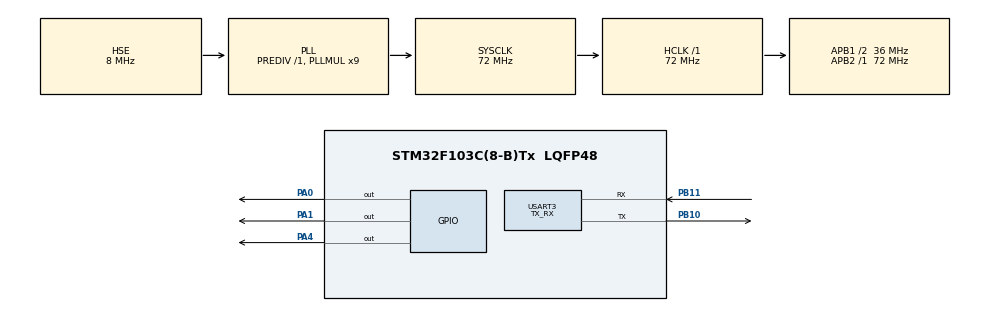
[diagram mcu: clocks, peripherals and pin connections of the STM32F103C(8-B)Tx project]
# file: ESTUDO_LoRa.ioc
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Dma.Request0=USART3_RX
Dma.USART3_RX.0.Direction=DMA_PERIPH_TO_MEMORY
Dma.USART3_RX.0.Instance=DMA1_Channel3
Dma.USART3_RX.0.MemDataAlignment=DMA_MDATAALIGN_BYTE
Dma.USART3_RX.0.MemInc=DMA_MINC_ENABLE
Dma.USART3_RX.0.Mode=DMA_CIRCULAR
Dma.USART3_RX.0.PeriphDataAlignment=DMA_PDATAALIGN_BYTE
Dma.USART3_RX.0.PeriphInc=DMA_PINC_DISABLE
Dma.USART3_RX.0.Priority=DMA_PRIORITY_LOW
Mcu.Family=STM32F1
Mcu.Name=STM32F103C(8-B)Tx
Mcu.Package=LQFP48
NVIC.DMA1_Channel3_IRQn=true\:0\:0\:false\:false\:true\:false\:true\:true
NVIC.PriorityGroup=NVIC_PRIORITYGROUP_4
PA0-WKUP.Signal=GPIO_Output
PA1.Signal=GPIO_Output
PA13.Mode=Serial_Wire
PA13.Signal=SYS_JTMS-SWDIO
PA14.Mode=Serial_Wire
PA14.Signal=SYS_JTCK-SWCLK
PA4.Signal=GPIO_Output
PB10.Mode=Asynchronous
PB10.Signal=USART3_TX
PB11.Mode=Asynchronous
PB11.Signal=USART3_RX
PD0-OSC_IN.Mode=HSE-External-Oscillator
PD0-OSC_IN.Signal=RCC_OSC_IN
PD1-OSC_OUT.Mode=HSE-External-Oscillator
PD1-OSC_OUT.Signal=RCC_OSC_OUT
ProjectManager.HeapSize=0x200
ProjectManager.StackSize=0x400
ProjectManager.TargetToolchain=STM32CubeIDE
RCC.AHBFreq_Value=72000000
RCC.APB1CLKDivider=RCC_HCLK_DIV2
RCC.APB1Freq_Value=36000000
RCC.APB1TimFreq_Value=72000000
RCC.APB2Freq_Value=72000000
RCC.APB2TimFreq_Value=72000000
RCC.HCLKFreq_Value=72000000
RCC.PLLMUL=RCC_PLL_MUL9
RCC.PLLSourceVirtual=RCC_PLLSOURCE_HSE
RCC.SYSCLKFreq_VALUE=72000000
RCC.SYSCLKSource=RCC_SYSCLKSOURCE_PLLCLK
RCC.USBFreq_Value=72000000
USART3.Mode=MODE_TX_RX
USART3.Parity=PARITY_NONE
USART3.VirtualMode=VM_ASYNC
board=custom

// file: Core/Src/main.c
/* USER CODE BEGIN Header */
/**
 ******************************************************************************
 * @file           : main.c
 * @brief          : Main program body
 ******************************************************************************
 * @attention
 *
 * Copyright (c) 2023 STMicroelectronics.
 * All rights reserved.
 *
 * This software is licensed under terms that can be found in the LICENSE file
 * in the root directory of this software component.
 * If no LICENSE file comes with this software, it is provided AS-IS.
 *
 ******************************************************************************
 */
/* USER CODE END Header */
#include "main.h"

/* USER CODE BEGIN Includes */
#include "DMA_USART.h"
#include "LoRa_SX1276.h"
#include <stdio.h>
/* USER CODE END Includes */

UART_HandleTypeDef huart3;
DMA_HandleTypeDef hdma_usart3_rx;

/* USER CODE BEGIN PV */
uint8_t Send_STATUS = 1;
LoRa_Float FLOAT = 12.5;
char AT_comand[15] = "";
extern uint8_t DMA_RX_Buffer_3[DMA_RX_BUFFER_SIZE];
uint64_t id = 0x018fdea1;
LoRa_Value Value = 3;
//LoRa_AutoNetworkJoinTypeDef status = LORA_AUTO_NETWORK_JOIN_ON;
LoRa_AutoNetworkJoinTypeDef read_status = LORA_AUTO_NETWORK_JOIN_OFF;
LoRa_Adress adress = 0xd3ad12;
LoRa_LoraMacRegionTypeDef regiao = LORAMAC_REGION_US915;
LoRa_TimeTypeDef horario;
LoRa_DateTypeDef data;
LoRa_ChannelsTypeDef chanel;
LoRa_PinTypeDef pino;
/* USER CODE END PV */

void SystemClock_Config(void);
static void MX_GPIO_Init(void);
static void MX_DMA_Init(void);
static void MX_USART3_UART_Init(void);

/* USER CODE BEGIN 0 */
void USART3_Message_Received() {
}
/* USER CODE END 0 */

int main(void) {

	/* MCU Configuration--------------------------------------------------------*/

	/* Reset of all peripherals, Initializes the Flash interface and the Systick. */
	HAL_Init();

	/* Configure the system clock */
	SystemClock_Config();

	/* Initialize all configured peripherals */
	MX_GPIO_Init();
	MX_DMA_Init();
	MX_USART3_UART_Init();
	/* USER CODE BEGIN 2 */
	USART_Init();
//	pino.LoRa_PinChar = 'C';
//	pino.LoRa_PinNumber = 6;
	/* USER CODE END 2 */
	/* Infinite loop */
	/* USER CODE BEGIN WHILE */
//	AT_StopRFTest();
//	AT_LoRaTxSignalStrengthTest(922500000, 12, 5, 1, 3, 2);
//	AT_RegionalChannelListP2P(AT_OPERATION_WRITE, 1, &list);
//	AT_LoRaMacRegion(AT_OPERATION_READ, &regiao);
//	AT_LoRaMacRegion(AT_OPERATION_WRITE, &regiao);
//
//	AT_RegionalChannelListP2P(AT_OPERATION_READ, 0, &chanel);
//	AT_SystemReboot(AT_REBOOT_SYSTEM);
	AT_SyncWordP2P(AT_OPERATION_READ, &Value);
	Value = 23;
	AT_SyncWordP2P(AT_OPERATION_WRITE, &Value);
	Value = 52;
	AT_SyncWordP2P(AT_OPERATION_READ, &Value);
	while (1) {

		/* USER CODE END WHILE */

	}
}

void SystemClock_Config(void) {
	RCC_OscInitTypeDef RCC_OscInitStruct = { 0 };
	RCC_ClkInitTypeDef RCC_ClkInitStruct = { 0 };

	/** Initializes the RCC Oscillators according to the specified parameters
	 * in the RCC_OscInitTypeDef structure.
	 */
	RCC_OscInitStruct.OscillatorType = RCC_OSCILLATORTYPE_HSE;
	RCC_OscInitStruct.HSEState = RCC_HSE_ON;
	RCC_OscInitStruct.HSEPredivValue = RCC_HSE_PREDIV_DIV1;
	RCC_OscInitStruct.HSIState = RCC_HSI_ON;
	RCC_OscInitStruct.PLL.PLLState = RCC_PLL_ON;
	RCC_OscInitStruct.PLL.PLLSource = RCC_PLLSOURCE_HSE;
	RCC_OscInitStruct.PLL.PLLMUL = RCC_PLL_MUL9;
	if (HAL_RCC_OscConfig(&RCC_OscInitStruct) != HAL_OK) {
		Error_Handler();
	}

	/** Initializes the CPU, AHB and APB buses clocks
	 */
	RCC_ClkInitStruct.ClockType = RCC_CLOCKTYPE_HCLK | RCC_CLOCKTYPE_SYSCLK
			| RCC_CLOCKTYPE_PCLK1 | RCC_CLOCKTYPE_PCLK2;
	RCC_ClkInitStruct.SYSCLKSource = RCC_SYSCLKSOURCE_PLLCLK;
	RCC_ClkInitStruct.AHBCLKDivider = RCC_SYSCLK_DIV1;
	RCC_ClkInitStruct.APB1CLKDivider = RCC_HCLK_DIV2;
	RCC_ClkInitStruct.APB2CLKDivider = RCC_HCLK_DIV1;

	if (HAL_RCC_ClockConfig(&RCC_ClkInitStruct, FLASH_LATENCY_2) != HAL_OK) {
		Error_Handler();
	}
}

static void MX_USART3_UART_Init(void) {

	huart3.Instance = USART3;
	huart3.Init.BaudRate = 115200;
	huart3.Init.WordLength = UART_WORDLENGTH_8B;
	huart3.Init.StopBits = UART_STOPBITS_1;
	huart3.Init.Parity = UART_PARITY_NONE;
	huart3.Init.Mode = UART_MODE_TX_RX;
	huart3.Init.HwFlowCtl = UART_HWCONTROL_NONE;
	huart3.Init.OverSampling = UART_OVERSAMPLING_16;
	if (HAL_UART_Init(&huart3) != HAL_OK) {
		Error_Handler();
	}

}

static void MX_DMA_Init(void) {

	/* DMA controller clock enable */
	__HAL_RCC_DMA1_CLK_ENABLE();

	/* DMA interrupt init */
	/* DMA1_Channel3_IRQn interrupt configuration */
	HAL_NVIC_SetPriority(DMA1_Channel3_IRQn, 0, 0);
	HAL_NVIC_EnableIRQ(DMA1_Channel3_IRQn);

}

static void MX_GPIO_Init(void) {
	GPIO_InitTypeDef GPIO_InitStruct = { 0 };

	/* GPIO Ports Clock Enable */
	__HAL_RCC_GPIOD_CLK_ENABLE();
	__HAL_RCC_GPIOA_CLK_ENABLE();
	__HAL_RCC_GPIOB_CLK_ENABLE();

	/*Configure GPIO pin Output Level */
	HAL_GPIO_WritePin(GPIOA, GPIO_PIN_0 | GPIO_PIN_1 | GPIO_PIN_4,
			GPIO_PIN_RESET);

	/*Configure GPIO pins : PA0 PA1 PA4 */
	GPIO_InitStruct.Pin = GPIO_PIN_0 | GPIO_PIN_1 | GPIO_PIN_4;
	GPIO_InitStruct.Mode = GPIO_MODE_OUTPUT_PP;
	GPIO_InitStruct.Pull = GPIO_NOPULL;
	GPIO_InitStruct.Speed = GPIO_SPEED_FREQ_LOW;
	HAL_GPIO_Init(GPIOA, &GPIO_InitStruct);

}

void Error_Handler(void) {
	__disable_irq();
	while (1) {
	}
}
